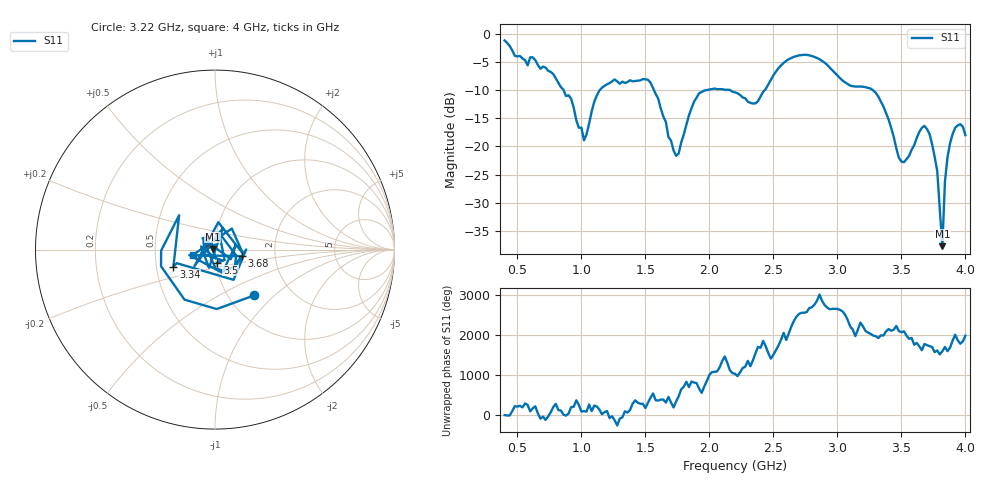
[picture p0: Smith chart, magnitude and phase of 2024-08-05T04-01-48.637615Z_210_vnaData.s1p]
!Created with skrf (http://scikit-rf.org).
# Hz S RI R 50.0
!freq ReS11 ImS11
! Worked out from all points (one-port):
!   181 points, 400 MHz to 4 GHz, reference 50 ohm
!   lowest |S11| = -37.7 dB at 3.82 GHz (marker M1), VSWR 1.03, Z = 48.8 + j0.316 ohm
!   |S11| at or under -10 dB: 861.2 MHz to 1.143 GHz (281.6 MHz wide, 28.1 % of centre); 1.567 GHz to 1.974 GHz (406.9 MHz wide, 23 % of centre); 3.277 GHz to end of sweep (the widest 3 of 4)
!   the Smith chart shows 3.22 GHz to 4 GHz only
!   S11 on the Smith chart (normalised r, x): 3.22 GHz: 1.31, -0.76; 3.34 GHz: 0.61, -0.12; 3.5 GHz: 1.02, -0.15; 3.68 GHz: 1.34, -0.10; 4 GHz: 0.78, -0.05
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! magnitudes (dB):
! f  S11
! 400 MHz  -1.2
! 860 MHz  -9.9
! 920 MHz  -11.5
! 1.02 GHz  -18.9
! 1.14 GHz  -10.1
! 1.3 GHz  -8.8
! 1.54 GHz  -8.7
! 1.72 GHz  -20.7
! 1.76 GHz  -21.3
! 1.84 GHz  -14.5
! 1.92 GHz  -10.5
! 2.2 GHz  -10.4
! 2.36 GHz  -12.3
! 2.66 GHz  -4.1
! 2.86 GHz  -4.5
! 3.1 GHz  -9.2
! 3.22 GHz  -9.5
! 3.34 GHz  -12.0
! 3.5 GHz  -22.7
! 3.56 GHz  -21.7
! 3.68 GHz  -16.3
! 3.72 GHz  -17.8
! 3.78 GHz  -24.4
! 3.82 GHz  -37.7
! 3.84 GHz  -26.3
! 3.88 GHz  -19.5
! 3.94 GHz  -16.3
! 4 GHz  -18.0
